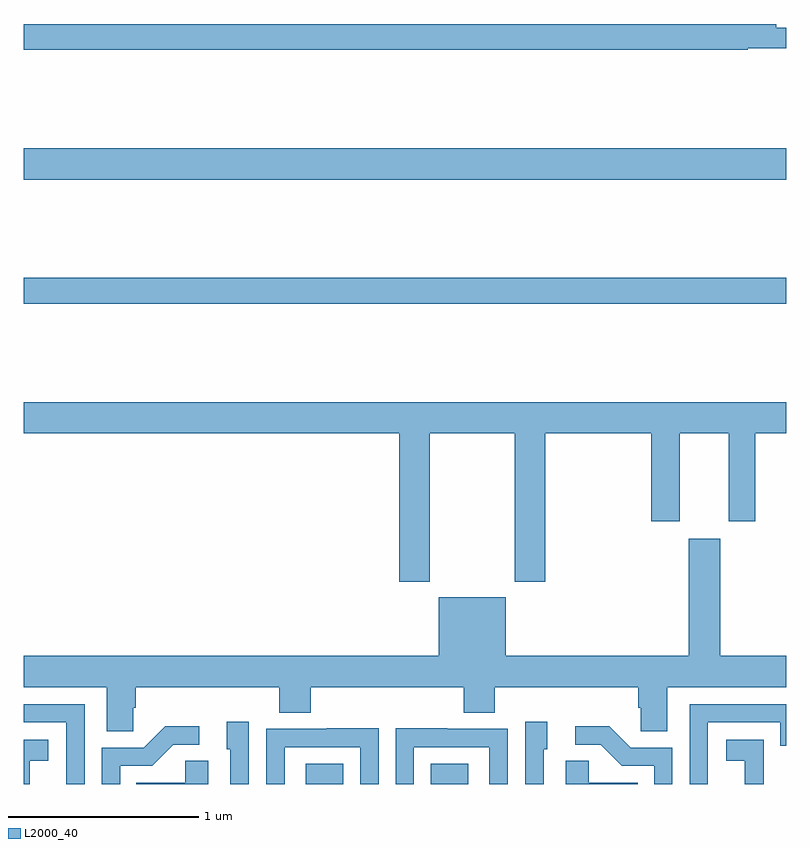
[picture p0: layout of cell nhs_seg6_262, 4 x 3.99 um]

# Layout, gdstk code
import gdstk
lib = gdstk.Library(unit=1e-6, precision=1e-09)
def R(c, l, rs):  # rectangles x0, y0, x1, y1
    for r in rs: c.add(gdstk.rectangle(r[:2], r[2:], *l))
def P(c, l, *ps):  # polygons
    for p in ps: c.add(gdstk.Polygon(p, *l))
L2000_40 = (2000, 40)

nhs_seg6_262 = lib.new_cell('nhs_seg6_262')
R(nhs_seg6_262, L2000_40, [(126.479,941.5,126.676,941.605), (127.136,941.5,127.333,941.605), (125,944.02,129,944.156), (125,944.672,129,944.836)])
P(nhs_seg6_262, L2000_40, [(128.798,945.36),(129,945.36),(129,945.469),(128.948,945.469),(128.948,945.488),(125,945.488),(125,945.352),(128.798,945.352)],
  [(127.131,943.34),(127.576,943.34),(127.576,942.561),(127.736,942.561),(127.736,943.34),(128.291,943.34),(128.291,942.879),(128.443,942.879),(128.443,943.34),(128.699,943.34),(128.699,942.879),(128.839,942.879),(128.839,943.34),(129,943.34),(129,943.504),(125,943.504),(125,943.34),(126.971,943.34),(126.971,942.561),(127.131,942.561)],
  [(125.574,941.899),(125.588,941.899),(125.588,942.008),(126.341,942.008),(126.341,941.875),(126.506,941.875),(126.506,942.008),(127.307,942.008),(127.307,941.875),(127.472,941.875),(127.472,942.008),(128.225,942.008),(128.225,941.899),(128.238,941.899),(128.238,941.776),(128.377,941.776),(128.377,942.008),(129,942.008),(129,942.172),(128.653,942.172),(128.653,942.787),(128.489,942.787),(128.489,942.172),(127.528,942.172),(127.528,942.481),(127.178,942.481),(127.178,942.172),(125,942.172),(125,942.008),(125.435,942.008),(125.435,941.776),(125.574,941.776)],
  [(125.319,941.919),(125,941.919),(125,941.823),(125.223,941.823),(125.223,941.5),(125.319,941.5)],
  [(128.589,941.823),(128.97,941.823),(128.97,941.7),(129,941.7),(129,941.919),(128.493,941.919),(128.493,941.5),(128.589,941.5)],
  [(126.18,941.827),(126.065,941.827),(126.065,941.682),(126.084,941.682),(126.084,941.5),(126.18,941.5)],
  [(127.728,941.682),(127.747,941.682),(127.747,941.827),(127.632,941.827),(127.632,941.5),(127.728,941.5)],
  [(128.403,941.691),(128.184,941.691),(128.071,941.804),(127.893,941.804),(127.893,941.706),(128.027,941.706),(128.138,941.595),(128.307,941.595),(128.307,941.5),(128.403,941.5)],
  [(125.505,941.595),(125.674,941.595),(125.785,941.706),(125.92,941.706),(125.92,941.804),(125.741,941.804),(125.628,941.691),(125.409,941.691),(125.409,941.5),(125.505,941.5)],
  [(126.369,941.694),(126.765,941.694),(126.765,941.5),(126.861,941.5),(126.861,941.792),(126.589,941.792),(126.589,941.79),(126.273,941.79),(126.273,941.5),(126.369,941.5)],
  [(127.047,941.694),(127.443,941.694),(127.443,941.5),(127.539,941.5),(127.539,941.79),(127.223,941.79),(127.223,941.792),(126.951,941.792),(126.951,941.5),(127.047,941.5)],
  [(128.882,941.525),(128.883,941.525),(128.883,941.731),(128.685,941.731),(128.685,941.621),(128.783,941.621),(128.783,941.5),(128.882,941.5)],
  [(125.03,941.621),(125.128,941.621),(125.128,941.731),(125,941.731),(125,941.5),(125.03,941.5)],
  [(128.222,941.506),(127.965,941.506),(127.965,941.621),(127.844,941.621),(127.844,941.5),(128.222,941.5)],
  [(125.968,941.621),(125.847,941.621),(125.847,941.506),(125.59,941.506),(125.59,941.5),(125.968,941.5)])

lib.write_gds('nhs_seg6_262.gds')
